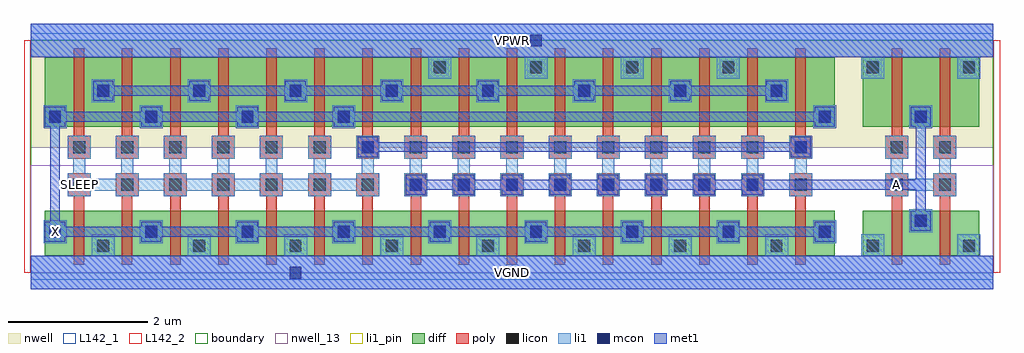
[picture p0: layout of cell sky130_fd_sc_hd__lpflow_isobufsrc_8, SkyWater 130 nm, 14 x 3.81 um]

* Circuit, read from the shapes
.subckt sky130_fd_sc_hd__lpflow_isobufsrc_8 A SLEEP VGND VPWR X
XM1 VGND SLEEP X VSUBS sky130_fd_pr__nfet_01v8 w=0.65 l=0.15 m=8
XM2 X n1 VGND VSUBS sky130_fd_pr__nfet_01v8 w=0.65 l=0.15 m=8
XM3 n1 A VGND VSUBS sky130_fd_pr__nfet_01v8 w=0.65 l=0.15 m=2
XM4 n2 SLEEP X n3 sky130_fd_pr__pfet_01v8 w=1 l=0.15 m=8
XM5 VPWR n1 n2 n3 sky130_fd_pr__pfet_01v8 w=1 l=0.15 m=8
XM6 n1 A VPWR n3 sky130_fd_pr__pfet_01v8 w=1 l=0.15 m=2
.ends

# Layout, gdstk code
import gdstk
lib = gdstk.Library(unit=1e-6, precision=1e-09)
def R(c, l, rs):  # rectangles x0, y0, x1, y1
    for r in rs: c.add(gdstk.rectangle(r[:2], r[2:], *l))
def A(c, l, x, y, w, h, nx, ny, dx, dy):  # array of equal rectangles
    R(c, l, [(x+i*dx, y+j*dy, x+i*dx+w, y+j*dy+h) for i in range(nx) for j in range(ny)])
def P(c, l, *ps):  # polygons
    for p in ps: c.add(gdstk.Polygon(p, *l))
nwell_13 = (64, 13)
nwell = (64, 20)
diff = (65, 20)
poly = (66, 20)
licon = (66, 44)
li1_pin = (67, 16)
li1 = (67, 20)
mcon = (67, 44)
met1 = (68, 20)
L142_1 = (142, 1)
L142_2 = (142, 2)
boundary = (235, 4)

sky130_fd_sc_hd__lpflow_ = lib.new_cell('sky130_fd_sc_hd__lpflow_isobufsrc_8')
R(sky130_fd_sc_hd__lpflow_, nwell_13, [(0,0,13.8,1.54)])
R(sky130_fd_sc_hd__lpflow_, nwell, [(0,1.79,13.8,3.33)])
A(sky130_fd_sc_hd__lpflow_, diff, 0.615, 0.24, 0.69, 0.65, 15, 1, 0.69, 0)
A(sky130_fd_sc_hd__lpflow_, diff, 0.615, 2.09, 0.69, 1, 15, 1, 0.69, 0)
R(sky130_fd_sc_hd__lpflow_, diff, [(0.2,0.24,11.53,0.89), (0.2,0.24,0.615,0.89), (10.965,0.24,11.53,0.89), (11.93,0.24,13.6,0.89), (11.93,0.24,12.345,0.89), (12.345,0.24,13.035,0.89), (13.035,0.24,13.6,0.89), (0.2,2.09,11.53,3.09), (0.2,2.09,0.615,3.09), (10.965,2.09,11.53,3.09), (11.93,2.09,13.6,3.09), (11.93,2.09,12.345,3.09), (12.345,2.09,13.035,3.09), (13.035,2.09,13.6,3.09)])
P(sky130_fd_sc_hd__lpflow_, poly, [(0.615,0.11),(0.615,1.095),(0.525,1.095),(0.525,1.425),(0.855,1.425),(0.855,1.095),(0.765,1.095),(0.765,0.11)],
  [(1.305,0.11),(1.305,1.095),(1.215,1.095),(1.215,1.425),(1.545,1.425),(1.545,1.095),(1.455,1.095),(1.455,0.11)],
  [(1.995,0.11),(1.995,1.095),(1.905,1.095),(1.905,1.425),(2.235,1.425),(2.235,1.095),(2.145,1.095),(2.145,0.11)],
  [(2.685,0.11),(2.685,1.095),(2.595,1.095),(2.595,1.425),(2.925,1.425),(2.925,1.095),(2.835,1.095),(2.835,0.11)],
  [(3.375,0.11),(3.375,1.095),(3.285,1.095),(3.285,1.425),(3.615,1.425),(3.615,1.095),(3.525,1.095),(3.525,0.11)],
  [(4.065,0.11),(4.065,1.095),(3.975,1.095),(3.975,1.425),(4.305,1.425),(4.305,1.095),(4.215,1.095),(4.215,0.11)],
  [(4.755,0.11),(4.755,1.095),(4.665,1.095),(4.665,1.425),(4.995,1.425),(4.995,1.095),(4.905,1.095),(4.905,0.11)],
  [(10.965,0.11),(10.965,1.095),(10.875,1.095),(10.875,1.425),(11.205,1.425),(11.205,1.095),(11.115,1.095),(11.115,0.11)],
  [(0.525,1.635),(0.525,1.965),(0.615,1.965),(0.615,3.22),(0.765,3.22),(0.765,1.965),(0.855,1.965),(0.855,1.635)],
  [(1.215,1.635),(1.215,1.965),(1.305,1.965),(1.305,3.22),(1.455,3.22),(1.455,1.965),(1.545,1.965),(1.545,1.635)],
  [(1.905,1.635),(1.905,1.965),(1.995,1.965),(1.995,3.22),(2.145,3.22),(2.145,1.965),(2.235,1.965),(2.235,1.635)],
  [(2.595,1.635),(2.595,1.965),(2.685,1.965),(2.685,3.22),(2.835,3.22),(2.835,1.965),(2.925,1.965),(2.925,1.635)],
  [(3.285,1.635),(3.285,1.965),(3.375,1.965),(3.375,3.22),(3.525,3.22),(3.525,1.965),(3.615,1.965),(3.615,1.635)],
  [(3.975,1.635),(3.975,1.965),(4.065,1.965),(4.065,3.22),(4.215,3.22),(4.215,1.965),(4.305,1.965),(4.305,1.635)],
  [(4.665,1.635),(4.665,1.965),(4.755,1.965),(4.755,3.22),(4.905,3.22),(4.905,1.965),(4.995,1.965),(4.995,1.635)],
  [(10.875,1.635),(10.875,1.965),(10.965,1.965),(10.965,3.22),(11.115,3.22),(11.115,1.965),(11.205,1.965),(11.205,1.635)],
  [(12.345,0.11),(12.345,1.095),(12.255,1.095),(12.255,1.425),(12.585,1.425),(12.585,1.095),(12.495,1.095),(12.495,0.11)],
  [(13.035,0.11),(13.035,1.095),(12.945,1.095),(12.945,1.425),(13.275,1.425),(13.275,1.095),(13.185,1.095),(13.185,0.11)],
  [(12.255,1.635),(12.255,1.965),(12.345,1.965),(12.345,3.22),(12.495,3.22),(12.495,1.965),(12.585,1.965),(12.585,1.635)],
  [(12.945,1.635),(12.945,1.965),(13.035,1.965),(13.035,3.22),(13.185,3.22),(13.185,1.965),(13.275,1.965),(13.275,1.635)],
  [(5.445,0.11),(5.445,1.095),(5.355,1.095),(5.355,1.425),(5.685,1.425),(5.685,1.095),(5.595,1.095),(5.595,0.11)],
  [(6.135,0.11),(6.135,1.095),(6.045,1.095),(6.045,1.425),(6.375,1.425),(6.375,1.095),(6.285,1.095),(6.285,0.11)],
  [(6.825,0.11),(6.825,1.095),(6.735,1.095),(6.735,1.425),(7.065,1.425),(7.065,1.095),(6.975,1.095),(6.975,0.11)],
  [(7.515,0.11),(7.515,1.095),(7.425,1.095),(7.425,1.425),(7.755,1.425),(7.755,1.095),(7.665,1.095),(7.665,0.11)],
  [(8.205,0.11),(8.205,1.095),(8.115,1.095),(8.115,1.425),(8.445,1.425),(8.445,1.095),(8.355,1.095),(8.355,0.11)],
  [(8.895,0.11),(8.895,1.095),(8.805,1.095),(8.805,1.425),(9.135,1.425),(9.135,1.095),(9.045,1.095),(9.045,0.11)],
  [(9.585,0.11),(9.585,1.095),(9.495,1.095),(9.495,1.425),(9.825,1.425),(9.825,1.095),(9.735,1.095),(9.735,0.11)],
  [(10.275,0.11),(10.275,1.095),(10.185,1.095),(10.185,1.425),(10.515,1.425),(10.515,1.095),(10.425,1.095),(10.425,0.11)],
  [(5.355,1.635),(5.355,1.965),(5.445,1.965),(5.445,3.22),(5.595,3.22),(5.595,1.965),(5.685,1.965),(5.685,1.635)],
  [(6.045,1.635),(6.045,1.965),(6.135,1.965),(6.135,3.22),(6.285,3.22),(6.285,1.965),(6.375,1.965),(6.375,1.635)],
  [(6.735,1.635),(6.735,1.965),(6.825,1.965),(6.825,3.22),(6.975,3.22),(6.975,1.965),(7.065,1.965),(7.065,1.635)],
  [(7.425,1.635),(7.425,1.965),(7.515,1.965),(7.515,3.22),(7.665,3.22),(7.665,1.965),(7.755,1.965),(7.755,1.635)],
  [(8.115,1.635),(8.115,1.965),(8.205,1.965),(8.205,3.22),(8.355,3.22),(8.355,1.965),(8.445,1.965),(8.445,1.635)],
  [(8.805,1.635),(8.805,1.965),(8.895,1.965),(8.895,3.22),(9.045,3.22),(9.045,1.965),(9.135,1.965),(9.135,1.635)],
  [(9.495,1.635),(9.495,1.965),(9.585,1.965),(9.585,3.22),(9.735,3.22),(9.735,1.965),(9.825,1.965),(9.825,1.635)],
  [(10.185,1.635),(10.185,1.965),(10.275,1.965),(10.275,3.22),(10.425,3.22),(10.425,1.965),(10.515,1.965),(10.515,1.635)])
A(sky130_fd_sc_hd__lpflow_, licon, 0.95, 0.3, 0.17, 0.17, 10, 1, 1.38, 0)
A(sky130_fd_sc_hd__lpflow_, licon, 0.26, 0.5, 0.17, 0.17, 9, 1, 1.38, 0)
A(sky130_fd_sc_hd__lpflow_, licon, 0.605, 1.175, 0.17, 0.17, 16, 2, 0.69, 0.54)
A(sky130_fd_sc_hd__lpflow_, licon, 0.26, 2.15, 0.17, 0.17, 4, 1, 1.38, 0)
A(sky130_fd_sc_hd__lpflow_, licon, 0.95, 2.525, 0.17, 0.17, 8, 1, 1.38, 0)
A(sky130_fd_sc_hd__lpflow_, licon, 5.78, 2.86, 0.17, 0.17, 4, 1, 1.38, 0)
R(sky130_fd_sc_hd__lpflow_, licon, [(12.68,0.66,12.85,0.83), (12.335,1.175,12.505,1.345), (13.025,1.175,13.195,1.345), (12.335,1.715,12.505,1.885), (13.025,1.715,13.195,1.885), (11.3,2.15,11.47,2.32), (12.68,2.15,12.85,2.32), (11.99,2.86,12.16,3.03), (13.37,2.86,13.54,3.03)])
R(sky130_fd_sc_hd__lpflow_, li1_pin, [(0,-0.24,13.8,0.24), (0.18,0.42,0.51,0.75), (0,3.09,13.8,3.57)])
P(sky130_fd_sc_hd__lpflow_, li1_pin, [(0.525,1.095),(0.525,1.425),(0.605,1.425),(0.605,1.635),(0.525,1.635),(0.525,1.965),(0.855,1.965),(0.855,1.635),(0.775,1.635),(0.775,1.425),(0.855,1.425),(0.855,1.345),(1.215,1.345),(1.215,1.425),(1.295,1.425),(1.295,1.635),(1.215,1.635),(1.215,1.965),(1.545,1.965),(1.545,1.635),(1.465,1.635),(1.465,1.425),(1.545,1.425),(1.545,1.345),(1.905,1.345),(1.905,1.425),(1.985,1.425),(1.985,1.635),(1.905,1.635),(1.905,1.965),(2.235,1.965),(2.235,1.635),(2.155,1.635),(2.155,1.425),(2.235,1.425),(2.235,1.345),(2.595,1.345),(2.595,1.425),(2.675,1.425),(2.675,1.635),(2.595,1.635),(2.595,1.965),(2.925,1.965),(2.925,1.635),(2.845,1.635),(2.845,1.425),(2.925,1.425),(2.925,1.345),(3.285,1.345),(3.285,1.425),(3.365,1.425),(3.365,1.635),(3.285,1.635),(3.285,1.965),(3.615,1.965),(3.615,1.635),(3.535,1.635),(3.535,1.425),(3.615,1.425),(3.615,1.345),(3.975,1.345),(3.975,1.425),(4.055,1.425),(4.055,1.635),(3.975,1.635),(3.975,1.965),(4.305,1.965),(4.305,1.635),(4.225,1.635),(4.225,1.425),(4.305,1.425),(4.305,1.345),(4.665,1.345),(4.665,1.425),(4.745,1.425),(4.745,1.635),(4.665,1.635),(4.665,1.965),(4.995,1.965),(4.995,1.635),(4.915,1.635),(4.915,1.425),(4.995,1.425),(4.995,1.095),(4.665,1.095),(4.665,1.175),(4.305,1.175),(4.305,1.095),(3.975,1.095),(3.975,1.175),(3.615,1.175),(3.615,1.095),(3.285,1.095),(3.285,1.175),(2.925,1.175),(2.925,1.095),(2.595,1.095),(2.595,1.175),(2.235,1.175),(2.235,1.095),(1.905,1.095),(1.905,1.175),(1.545,1.175),(1.545,1.095),(1.215,1.095),(1.215,1.175),(0.855,1.175),(0.855,1.095)],
  [(12.255,1.095),(12.255,1.425),(12.335,1.425),(12.335,1.635),(12.255,1.635),(12.255,1.965),(12.585,1.965),(12.585,1.635),(12.505,1.635),(12.505,1.425),(12.585,1.425),(12.585,1.345),(12.945,1.345),(12.945,1.425),(13.025,1.425),(13.025,1.635),(12.945,1.635),(12.945,1.965),(13.275,1.965),(13.275,1.635),(13.195,1.635),(13.195,1.425),(13.275,1.425),(13.275,1.095),(12.945,1.095),(12.945,1.175),(12.585,1.175),(12.585,1.095)])
A(sky130_fd_sc_hd__lpflow_, li1, 0.18, 0.42, 0.33, 0.33, 9, 1, 1.38, 0)
A(sky130_fd_sc_hd__lpflow_, li1, 0.18, 2.07, 0.33, 0.33, 4, 1, 1.38, 0)
A(sky130_fd_sc_hd__lpflow_, li1, 0.87, 2.445, 0.33, 0.33, 8, 1, 1.38, 0)
R(sky130_fd_sc_hd__lpflow_, li1, [(12.6,0.58,12.93,0.91), (11.22,2.07,11.55,2.4), (12.6,2.07,12.93,2.4)])
P(sky130_fd_sc_hd__lpflow_, li1, [(0.525,1.095),(0.525,1.425),(0.605,1.425),(0.605,1.635),(0.525,1.635),(0.525,1.965),(0.855,1.965),(0.855,1.635),(0.775,1.635),(0.775,1.425),(0.855,1.425),(0.855,1.345),(1.215,1.345),(1.215,1.425),(1.295,1.425),(1.295,1.635),(1.215,1.635),(1.215,1.965),(1.545,1.965),(1.545,1.635),(1.465,1.635),(1.465,1.425),(1.545,1.425),(1.545,1.345),(1.905,1.345),(1.905,1.425),(1.985,1.425),(1.985,1.635),(1.905,1.635),(1.905,1.965),(2.235,1.965),(2.235,1.635),(2.155,1.635),(2.155,1.425),(2.235,1.425),(2.235,1.345),(2.595,1.345),(2.595,1.425),(2.675,1.425),(2.675,1.635),(2.595,1.635),(2.595,1.965),(2.925,1.965),(2.925,1.635),(2.845,1.635),(2.845,1.425),(2.925,1.425),(2.925,1.345),(3.285,1.345),(3.285,1.425),(3.365,1.425),(3.365,1.635),(3.285,1.635),(3.285,1.965),(3.615,1.965),(3.615,1.635),(3.535,1.635),(3.535,1.425),(3.615,1.425),(3.615,1.345),(3.975,1.345),(3.975,1.425),(4.055,1.425),(4.055,1.635),(3.975,1.635),(3.975,1.965),(4.305,1.965),(4.305,1.635),(4.225,1.635),(4.225,1.425),(4.305,1.425),(4.305,1.345),(4.665,1.345),(4.665,1.425),(4.745,1.425),(4.745,1.635),(4.665,1.635),(4.665,1.965),(4.995,1.965),(4.995,1.635),(4.915,1.635),(4.915,1.425),(4.995,1.425),(4.995,1.095),(4.665,1.095),(4.665,1.175),(4.305,1.175),(4.305,1.095),(3.975,1.095),(3.975,1.175),(3.615,1.175),(3.615,1.095),(3.285,1.095),(3.285,1.175),(2.925,1.175),(2.925,1.095),(2.595,1.095),(2.595,1.175),(2.235,1.175),(2.235,1.095),(1.905,1.095),(1.905,1.175),(1.545,1.175),(1.545,1.095),(1.215,1.095),(1.215,1.175),(0.855,1.175),(0.855,1.095)],
  [(10.875,1.095),(10.875,1.425),(10.955,1.425),(10.955,1.635),(10.875,1.635),(10.875,1.965),(11.205,1.965),(11.205,1.635),(11.125,1.635),(11.125,1.425),(11.205,1.425),(11.205,1.095)],
  [(5.7,2.78),(5.7,3.09),(0,3.09),(0,3.57),(13.8,3.57),(13.8,3.09),(13.62,3.09),(13.62,2.78),(13.29,2.78),(13.29,3.09),(12.24,3.09),(12.24,2.78),(11.91,2.78),(11.91,3.09),(10.17,3.09),(10.17,2.78),(9.84,2.78),(9.84,3.09),(8.79,3.09),(8.79,2.78),(8.46,2.78),(8.46,3.09),(7.41,3.09),(7.41,2.78),(7.08,2.78),(7.08,3.09),(6.03,3.09),(6.03,2.78)],
  [(0,-0.24),(0,0.24),(0.87,0.24),(0.87,0.55),(1.2,0.55),(1.2,0.24),(2.25,0.24),(2.25,0.55),(2.58,0.55),(2.58,0.24),(3.63,0.24),(3.63,0.55),(3.96,0.55),(3.96,0.24),(5.01,0.24),(5.01,0.55),(5.34,0.55),(5.34,0.24),(6.39,0.24),(6.39,0.55),(6.72,0.55),(6.72,0.24),(7.77,0.24),(7.77,0.55),(8.1,0.55),(8.1,0.24),(9.15,0.24),(9.15,0.55),(9.48,0.55),(9.48,0.24),(10.53,0.24),(10.53,0.55),(10.86,0.55),(10.86,0.24),(11.91,0.24),(11.91,0.55),(12.24,0.55),(12.24,0.24),(13.29,0.24),(13.29,0.55),(13.62,0.55),(13.62,0.24),(13.8,0.24),(13.8,-0.24)],
  [(12.255,1.095),(12.255,1.425),(12.335,1.425),(12.335,1.635),(12.255,1.635),(12.255,1.965),(12.585,1.965),(12.585,1.635),(12.505,1.635),(12.505,1.425),(12.585,1.425),(12.585,1.345),(12.945,1.345),(12.945,1.425),(13.025,1.425),(13.025,1.635),(12.945,1.635),(12.945,1.965),(13.275,1.965),(13.275,1.635),(13.195,1.635),(13.195,1.425),(13.275,1.425),(13.275,1.095),(12.945,1.095),(12.945,1.175),(12.585,1.175),(12.585,1.095)],
  [(5.355,1.095),(5.355,1.425),(5.435,1.425),(5.435,1.635),(5.355,1.635),(5.355,1.965),(5.685,1.965),(5.685,1.635),(5.605,1.635),(5.605,1.425),(5.685,1.425),(5.685,1.095)],
  [(6.045,1.095),(6.045,1.425),(6.125,1.425),(6.125,1.635),(6.045,1.635),(6.045,1.965),(6.375,1.965),(6.375,1.635),(6.295,1.635),(6.295,1.425),(6.375,1.425),(6.375,1.095)],
  [(6.735,1.095),(6.735,1.425),(6.815,1.425),(6.815,1.635),(6.735,1.635),(6.735,1.965),(7.065,1.965),(7.065,1.635),(6.985,1.635),(6.985,1.425),(7.065,1.425),(7.065,1.095)],
  [(7.425,1.095),(7.425,1.425),(7.505,1.425),(7.505,1.635),(7.425,1.635),(7.425,1.965),(7.755,1.965),(7.755,1.635),(7.675,1.635),(7.675,1.425),(7.755,1.425),(7.755,1.095)],
  [(8.115,1.095),(8.115,1.425),(8.195,1.425),(8.195,1.635),(8.115,1.635),(8.115,1.965),(8.445,1.965),(8.445,1.635),(8.365,1.635),(8.365,1.425),(8.445,1.425),(8.445,1.095)],
  [(8.805,1.095),(8.805,1.425),(8.885,1.425),(8.885,1.635),(8.805,1.635),(8.805,1.965),(9.135,1.965),(9.135,1.635),(9.055,1.635),(9.055,1.425),(9.135,1.425),(9.135,1.095)],
  [(9.495,1.095),(9.495,1.425),(9.575,1.425),(9.575,1.635),(9.495,1.635),(9.495,1.965),(9.825,1.965),(9.825,1.635),(9.745,1.635),(9.745,1.425),(9.825,1.425),(9.825,1.095)],
  [(10.185,1.095),(10.185,1.425),(10.265,1.425),(10.265,1.635),(10.185,1.635),(10.185,1.965),(10.515,1.965),(10.515,1.635),(10.435,1.635),(10.435,1.425),(10.515,1.425),(10.515,1.095)])
A(sky130_fd_sc_hd__lpflow_, mcon, 0.26, 0.5, 0.17, 0.17, 9, 1, 1.38, 0)
A(sky130_fd_sc_hd__lpflow_, mcon, 5.435, 1.175, 0.17, 0.17, 8, 1, 0.69, 0)
A(sky130_fd_sc_hd__lpflow_, mcon, 0.26, 2.15, 0.17, 0.17, 4, 1, 1.38, 0)
A(sky130_fd_sc_hd__lpflow_, mcon, 0.95, 2.525, 0.17, 0.17, 8, 1, 1.38, 0)
R(sky130_fd_sc_hd__lpflow_, mcon, [(3.71,-0.085,3.88,0.085), (12.68,0.66,12.85,0.83), (4.745,1.715,4.915,1.885), (10.955,1.715,11.125,1.885), (11.3,2.15,11.47,2.32), (12.68,2.15,12.85,2.32), (7.16,3.245,7.33,3.415)])
R(sky130_fd_sc_hd__lpflow_, met1, [(0,-0.24,13.8,0.24), (0,3.09,13.8,3.57)])
P(sky130_fd_sc_hd__lpflow_, met1, [(4.685,1.655),(4.685,1.945),(4.975,1.945),(4.975,1.87),(10.895,1.87),(10.895,1.945),(11.185,1.945),(11.185,1.655),(10.895,1.655),(10.895,1.73),(4.975,1.73),(4.975,1.655)],
  [(0.89,2.465),(0.89,2.755),(1.18,2.755),(1.18,2.68),(2.27,2.68),(2.27,2.755),(2.56,2.755),(2.56,2.68),(3.65,2.68),(3.65,2.755),(3.94,2.755),(3.94,2.68),(5.03,2.68),(5.03,2.755),(5.32,2.755),(5.32,2.68),(6.41,2.68),(6.41,2.755),(6.7,2.755),(6.7,2.68),(7.79,2.68),(7.79,2.755),(8.08,2.755),(8.08,2.68),(9.17,2.68),(9.17,2.755),(9.46,2.755),(9.46,2.68),(10.55,2.68),(10.55,2.755),(10.84,2.755),(10.84,2.465),(10.55,2.465),(10.55,2.54),(9.46,2.54),(9.46,2.465),(9.17,2.465),(9.17,2.54),(8.08,2.54),(8.08,2.465),(7.79,2.465),(7.79,2.54),(6.7,2.54),(6.7,2.465),(6.41,2.465),(6.41,2.54),(5.32,2.54),(5.32,2.465),(5.03,2.465),(5.03,2.54),(3.94,2.54),(3.94,2.465),(3.65,2.465),(3.65,2.54),(2.56,2.54),(2.56,2.465),(2.27,2.465),(2.27,2.54),(1.18,2.54),(1.18,2.465)],
  [(12.62,0.6),(12.62,0.89),(12.695,0.89),(12.695,1.19),(10.495,1.19),(10.495,1.115),(10.205,1.115),(10.205,1.19),(9.805,1.19),(9.805,1.115),(9.515,1.115),(9.515,1.19),(9.115,1.19),(9.115,1.115),(8.825,1.115),(8.825,1.19),(8.425,1.19),(8.425,1.115),(8.135,1.115),(8.135,1.19),(7.735,1.19),(7.735,1.115),(7.445,1.115),(7.445,1.19),(7.045,1.19),(7.045,1.115),(6.755,1.115),(6.755,1.19),(6.355,1.19),(6.355,1.115),(6.065,1.115),(6.065,1.19),(5.665,1.19),(5.665,1.115),(5.375,1.115),(5.375,1.405),(5.665,1.405),(5.665,1.33),(6.065,1.33),(6.065,1.405),(6.355,1.405),(6.355,1.33),(6.755,1.33),(6.755,1.405),(7.045,1.405),(7.045,1.33),(7.445,1.33),(7.445,1.405),(7.735,1.405),(7.735,1.33),(8.135,1.33),(8.135,1.405),(8.425,1.405),(8.425,1.33),(8.825,1.33),(8.825,1.405),(9.115,1.405),(9.115,1.33),(9.515,1.33),(9.515,1.405),(9.805,1.405),(9.805,1.33),(10.205,1.33),(10.205,1.405),(10.495,1.405),(10.495,1.33),(12.695,1.33),(12.695,2.09),(12.62,2.09),(12.62,2.38),(12.91,2.38),(12.91,2.09),(12.835,2.09),(12.835,0.89),(12.91,0.89),(12.91,0.6)],
  [(0.2,0.44),(0.2,0.73),(0.275,0.73),(0.275,2.09),(0.2,2.09),(0.2,2.38),(0.49,2.38),(0.49,2.305),(1.58,2.305),(1.58,2.38),(1.87,2.38),(1.87,2.305),(2.96,2.305),(2.96,2.38),(3.25,2.38),(3.25,2.305),(4.34,2.305),(4.34,2.38),(4.63,2.38),(4.63,2.305),(11.24,2.305),(11.24,2.38),(11.53,2.38),(11.53,2.09),(11.24,2.09),(11.24,2.165),(4.63,2.165),(4.63,2.09),(4.34,2.09),(4.34,2.165),(3.25,2.165),(3.25,2.09),(2.96,2.09),(2.96,2.165),(1.87,2.165),(1.87,2.09),(1.58,2.09),(1.58,2.165),(0.49,2.165),(0.49,2.09),(0.415,2.09),(0.415,0.73),(0.49,0.73),(0.49,0.655),(1.58,0.655),(1.58,0.73),(1.87,0.73),(1.87,0.655),(2.96,0.655),(2.96,0.73),(3.25,0.73),(3.25,0.655),(4.34,0.655),(4.34,0.73),(4.63,0.73),(4.63,0.655),(5.72,0.655),(5.72,0.73),(6.01,0.73),(6.01,0.655),(7.1,0.655),(7.1,0.73),(7.39,0.73),(7.39,0.655),(8.48,0.655),(8.48,0.73),(8.77,0.73),(8.77,0.655),(9.86,0.655),(9.86,0.73),(10.15,0.73),(10.15,0.655),(11.24,0.655),(11.24,0.73),(11.53,0.73),(11.53,0.44),(11.24,0.44),(11.24,0.515),(10.15,0.515),(10.15,0.44),(9.86,0.44),(9.86,0.515),(8.77,0.515),(8.77,0.44),(8.48,0.44),(8.48,0.515),(7.39,0.515),(7.39,0.44),(7.1,0.44),(7.1,0.515),(6.01,0.515),(6.01,0.44),(5.72,0.44),(5.72,0.515),(4.63,0.515),(4.63,0.44),(4.34,0.44),(4.34,0.515),(3.25,0.515),(3.25,0.44),(2.96,0.44),(2.96,0.515),(1.87,0.515),(1.87,0.44),(1.58,0.44),(1.58,0.515),(0.49,0.515),(0.49,0.44)])
R(sky130_fd_sc_hd__lpflow_, L142_1, [(0,-0.1,13.8,0), (0,3.33,13.8,3.43)])
R(sky130_fd_sc_hd__lpflow_, L142_2, [(-0.1,0,0,3.33), (13.8,0,13.9,3.33)])
R(sky130_fd_sc_hd__lpflow_, boundary, [(0,0,13.8,3.33)])
sky130_fd_sc_hd__lpflow_.add(gdstk.Label('X', (0.345,0.585), layer=67, texttype=5))
sky130_fd_sc_hd__lpflow_.add(gdstk.Label('SLEEP', (0.69,1.26), layer=67, texttype=5))
sky130_fd_sc_hd__lpflow_.add(gdstk.Label('A', (12.42,1.26), layer=67, texttype=5))
sky130_fd_sc_hd__lpflow_.add(gdstk.Label('VGND', (6.9,0), layer=67, texttype=5))
sky130_fd_sc_hd__lpflow_.add(gdstk.Label('VPWR', (6.9,3.33), layer=67, texttype=5))
sky130_fd_sc_hd__lpflow_.add(gdstk.Label('VGND', (6.9,0), layer=68, texttype=5))
sky130_fd_sc_hd__lpflow_.add(gdstk.Label('VPWR', (6.9,3.33), layer=68, texttype=5))

lib.write_gds('sky130_fd_sc_hd__lpflow_isobufsrc_8.gds')
